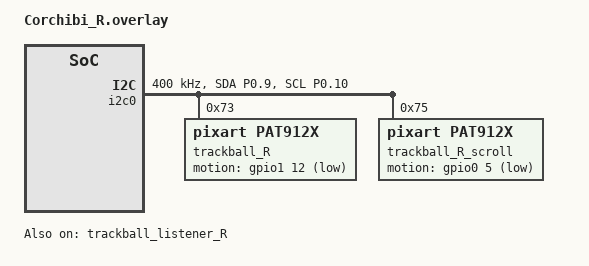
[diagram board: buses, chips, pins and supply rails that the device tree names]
// [source: 5] をベースに修正
#include "corchibi.dtsi"
#include <dt-bindings/pinctrl/nrf-pinctrl.h>
#include <dt-bindings/zmk/input_transform.h>
#include <input/processors.dtsi>

&default_transform {
    col-offset = <6>;
};

&kscan0 {
    compatible = "zmk,kscan-gpio-charlieplex";
    // 重要: センサーの割り込みピンと重複する可能性のあるGPIOを整理
    gpios
        = <&gpio0 3 (GPIO_ACTIVE_HIGH)>
        , <&gpio0 28 (GPIO_ACTIVE_HIGH)>
        , <&gpio0 29 (GPIO_ACTIVE_HIGH)>
        , <&gpio1 11 (GPIO_ACTIVE_HIGH)>
        // , <&gpio1 15 (GPIO_ACTIVE_HIGH)> // 必要に応じて重複を排除
        , <&gpio1 14 (GPIO_ACTIVE_HIGH)>
        ;
};

&pinctrl {
    i2c0_default: i2c0_default {
        group1 {
            psels = <NRF_PSEL(TWIM_SDA, 0, 9)>, <NRF_PSEL(TWIM_SCL, 0, 10)>;
        };
    };
    i2c0_sleep: i2c0_sleep {
        group1 {
            psels = <NRF_PSEL(TWIM_SDA, 0, 9)>, <NRF_PSEL(TWIM_SCL, 0, 10)>;
            low-power-enable;
        };
    };
};

// 右手用メインリスナー（マウス移動用）
&trackball_listener_R {
    status = "okay";
    device = <&trackball_R>;
};

/ {
    // 右手用スクロールリスナー（スクロール専用）
    trackball_listener_R_scroll: trackball_listener_R_scroll {
        compatible = "zmk,input-listener";
        status = "okay";
        device = <&trackball_R_scroll>;
        input-processors =
            <&zip_xy_to_scroll_mapper>, // XY移動をスクロールに変換[cite: 5]
            <&zip_scroll_scaler 1 4>;    // スクロール速度の調整[cite: 5]
    };
};

&i2c0 {
    status = "okay";
    compatible = "nordic,nrf-twim";
    pinctrl-0 = <&i2c0_default>;
    pinctrl-1 = <&i2c0_sleep>;
    pinctrl-names = "default", "sleep";
    clock-frequency = <I2C_BITRATE_FAST>; // 400kHz[cite: 5]
    #address-cells = <1>;
    #size-cells = <0>;

    // 0x73: マウスカーソル (Contru1)[cite: 5]
    trackball_R: trackball_R@73 {
        compatible = "pixart,pat912x";
        reg = <0x73>;
        status = "okay";
        motion-gpios = <&gpio1 12 (GPIO_ACTIVE_LOW | GPIO_PULL_UP)>; // D7[cite: 5]
        res-x-cpi = <600>;
        res-y-cpi = <600>;
        zephyr,axis-x = <INPUT_REL_X>;
        zephyr,axis-y = <INPUT_REL_Y>;
    };

    // 0x75: スクロール (Contru2)[cite: 5]
    trackball_R_scroll: trackball_R_scroll@75 {
        compatible = "pixart,pat912x";
        reg = <0x75>;
        status = "okay";
        motion-gpios = <&gpio0 5 (GPIO_ACTIVE_LOW | GPIO_PULL_UP)>; // D5 (P0.05)[cite: 5]
        res-x-cpi = <600>;
        res-y-cpi = <600>;
        // スクロールとして扱うため、内部的にはXY軸として報告させリスナーで変換する[cite: 5]
        zephyr,axis-x = <INPUT_REL_X>;
        zephyr,axis-y = <INPUT_REL_Y>;
    };
};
